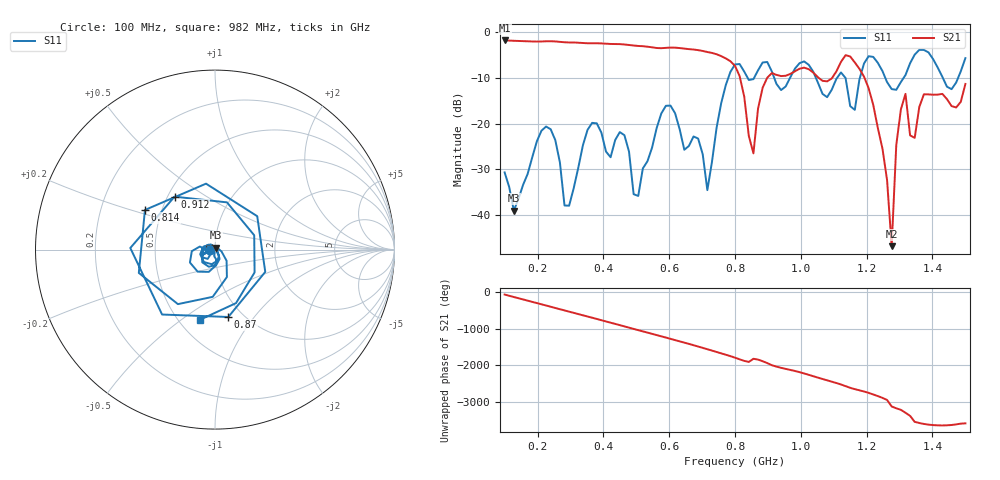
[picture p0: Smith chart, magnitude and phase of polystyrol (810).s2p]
! NanoVNA-App
! Date: 2025-09-25 15:36:11
! Start: 100MHz Stop: 1,5GHz Points: 101
! S-Parameter data: F S11 S21 S12 S22
# Hz S RI R 50
!  Frequency  S11_Real  S11_Imag  S21_Real  S21_Imag  S12_Real  S12_Imag  S22_Real  S22_Imag
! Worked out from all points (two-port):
!   101 points, 100 MHz to 1.5 GHz, reference 50 ohm
!   highest |S21| = -1.80 dB at 100 MHz (marker M1); lowest = -46.9 dB at 1.276 GHz (marker M2)
!   |S21| within 3 dB of the highest: start of sweep to 743 MHz
!   lowest |S11| = -39.1 dB at 128 MHz (marker M3), VSWR 1.02, Z = 50.3 + j1.06 ohm
!   |S11| at or under -10 dB: start of sweep to 779.7 MHz; 1.046 GHz to 1.11 GHz (64.38 MHz wide, 5.97 % of centre); 1.136 GHz to 1.179 GHz (43.77 MHz wide, 3.78 % of centre)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
!   S12 and S22 are empty: the file has one direction only
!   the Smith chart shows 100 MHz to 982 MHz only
!   S11 on the Smith chart (normalised r, x): 100 MHz: 0.94, -0.01; 814 MHz: 0.40, +0.22; 870 MHz: 0.86, -0.75; 912 MHz: 0.54, +0.37; 982 MHz: 0.64, -0.59
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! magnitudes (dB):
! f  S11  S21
! 100 MHz  -30.7  -1.8
! 128 MHz  -39.1  -1.9
! 212 MHz  -21.6  -2.0
! 282 MHz  -38.0  -2.2
! 338 MHz  -24.7  -2.4
! 464 MHz  -22.6  -2.7
! 506 MHz  -35.9  -3.0
! 576 MHz  -17.8  -3.5
! 716 MHz  -34.6  -4.3
! 800 MHz  -7.1  -7.4
! 814 MHz  -7.0  -9.6
! 856 MHz  -10.3  -26.5
! 870 MHz  -8.3  -16.7
! 912 MHz  -8.6  -8.9
! 982 MHz  -8.0  -8.6
! 1.038 GHz  -8.7  -8.8
! 1.192 GHz  -6.8  -9.7
! 1.276 GHz  -12.5  -46.9
! 1.29 GHz  -12.6  -24.7
! 1.318 GHz  -9.4  -13.5
! 1.346 GHz  -4.9  -23.1
! 1.5 GHz  -5.7  -11.3
